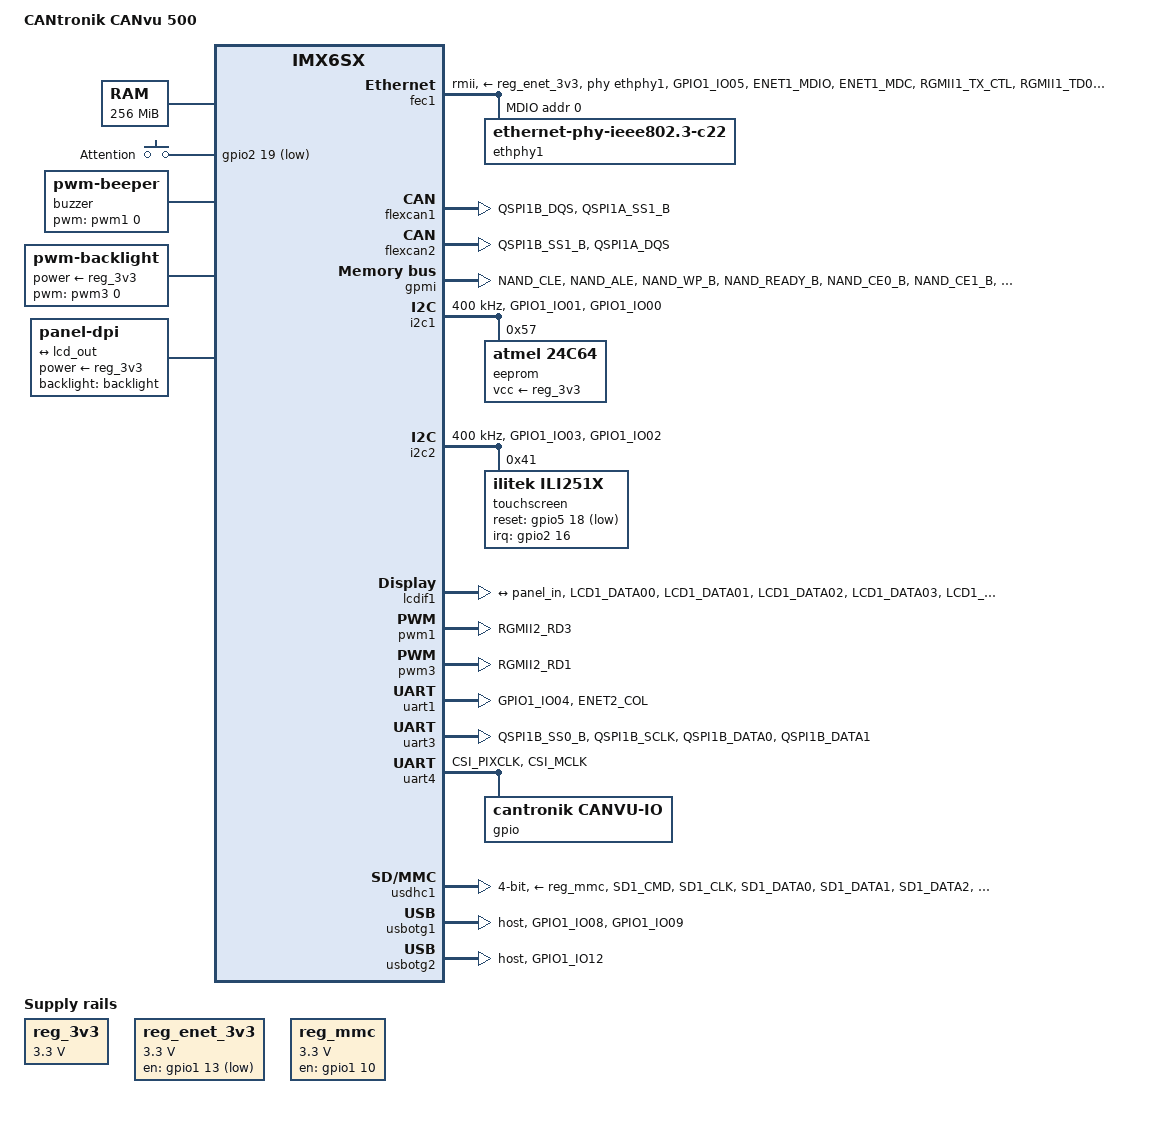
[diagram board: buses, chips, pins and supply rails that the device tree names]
/dts-v1/;

#include <dt-bindings/input/input.h>
#include "imx6sx.dtsi"

/ {
	model = "CANtronik CANvu 500";
	compatible = "cantronik,canvu500", "fsl,imx6sx";

	chosen {
		stdout-path = &uart1;
	};

	memory@80000000 {
		device_type = "memory";
		reg = <0x80000000 0x10000000>;
	};

	gpio-keys {
		compatible = "gpio-keys";
		pinctrl-names = "default";
		pinctrl-0 = <&pinctrl_gpio_keys>;

		key-1 {
			label = "Attention";
			gpios = <&gpio2 19 GPIO_ACTIVE_LOW>;
			linux,code = <KEY_HOME>;
		};
	};

	buzzer {
		compatible = "pwm-beeper";
		pwms = <&pwm1 0 1000000 0>;
	};

	backlight: backlight {
		compatible = "pwm-backlight";
		power-supply = <&reg_3v3>;
		pwms = <&pwm3 0 20000 0>;
		brightness-levels = <0 4 8 16 32 64 128 255>;
		default-brightness-level = <7>;
	};

	panel {
		compatible = "panel-dpi";
		power-supply = <&reg_3v3>;
		backlight = <&backlight>;

		panel-timing {
			clock-frequency = <27000000>;
			hactive = <800>;
			vactive = <480>;
			hback-porch = <40>;
			hfront-porch = <60>;
			vback-porch = <10>;
			vfront-porch = <10>;
			hsync-len = <20>;
			vsync-len = <10>;
			hsync-active = <0>;
			vsync-active = <0>;
			de-active = <1>;
			pixelclk-active = <0>;
		};

		port {
			panel_in: endpoint {
				remote-endpoint = <&lcd_out>;
			};
		};
	};

	reg_3v3: regulator-3v3 {
		compatible = "regulator-fixed";
		regulator-name = "vref-3v3";
		regulator-min-microvolt = <3300000>;
		regulator-max-microvolt = <3300000>;
	};

	reg_enet_3v3: regulator-enet {
		compatible = "regulator-fixed";
		pinctrl-names = "default";
		pinctrl-0 = <&pinctrl_enet_3v3>;
		regulator-name = "enet_3v3";
		regulator-min-microvolt = <3300000>;
		regulator-max-microvolt = <3300000>;
		gpio = <&gpio1 13 GPIO_ACTIVE_LOW>;
	};

	reg_mmc: regulator-mmc {
		compatible = "regulator-fixed";
		pinctrl-names = "default";
		pinctrl-0 = <&pinctrl_reg_mmc>;
		regulator-name = "mmc_3v3";
		regulator-min-microvolt = <3300000>;
		regulator-max-microvolt = <3300000>;
		gpio = <&gpio1 10 GPIO_ACTIVE_HIGH>;
		enable-active-high;
	};
};

&fec1 {
	pinctrl-names = "default";
	pinctrl-0 = <&pinctrl_enet1>;
	assigned-clocks = <&clks IMX6SX_CLK_ENET_REF>;
	assigned-clock-rates = <50000000>;
	phy-supply = <&reg_enet_3v3>;
	phy-mode = "rmii";
	phy-reset-gpios = <&gpio2 17 GPIO_ACTIVE_LOW>;
	phy-reset-duration = <25>;
	phy-handle = <&ethphy1>;
	status = "okay";

	mdio {
		#address-cells = <1>;
		#size-cells = <0>;

		ethphy1: ethernet-phy@0 {
			compatible = "ethernet-phy-ieee802.3-c22";
			reg = <0>;
			max-speed = <100>;
		};
	};
};

&flexcan1 {
	pinctrl-names = "default";
	pinctrl-0 = <&pinctrl_flexcan1>;
	status = "okay";
};

&flexcan2 {
	pinctrl-names = "default";
	pinctrl-0 = <&pinctrl_flexcan2>;
	status = "okay";
};

&gpmi {
	pinctrl-names = "default";
	pinctrl-0 = <&pinctrl_gpmi_nand>;
	status = "okay";

	partitions {
		compatible = "fixed-partitions";
		#address-cells = <1>;
		#size-cells = <1>;

		partition@0 {
			label = "boot";
			reg = <0x000000 0x380000>;
		};

		partition@380000 {
			label = "splash";
			reg = <0x380000 0x080000>;
		};

		partition@400000 {
			label = "env";
			reg = <0x400000 0x100000>;
		};

		partition@500000 {
			label = "ubi";
			reg = <0x500000 0x1fb00000>;
		};
	};
};

&i2c1 {
	pinctrl-names = "default";
	pinctrl-0 = <&pinctrl_i2c1>;
	clock-frequency = <400000>;
	status = "okay";

	eeprom@57 {
		compatible = "atmel,24c64";
		reg = <0x57>;
		pagesize = <32>;
		vcc-supply = <&reg_3v3>;
	};
};

&i2c2 {
	pinctrl-names = "default";
	pinctrl-0 = <&pinctrl_i2c2>;
	clock-frequency = <400000>;
	status = "okay";

	touchscreen@41 {
		compatible = "ilitek,ili251x";
		reg = <0x41>;
		pinctrl-names = "default";
		pinctrl-0 = <&pinctrl_touchscreen>;
		interrupt-parent = <&gpio2>;
		interrupts = <16 IRQ_TYPE_EDGE_FALLING>;
		reset-gpio = <&gpio5 18 GPIO_ACTIVE_LOW>;
	};
};

&lcdif1 {
	pinctrl-names = "default";
	pinctrl-0 = <&pinctrl_lcd>;
	status = "okay";

	port {
		lcd_out: endpoint {
			remote-endpoint = <&panel_in>;
		};
	};
};

&pwm1 {
	pinctrl-names = "default";
	pinctrl-0 = <&pinctrl_pwm1>;
	status = "okay";
};

&pwm3 {
	pinctrl-names = "default";
	pinctrl-0 = <&pinctrl_pwm3>;
	status = "okay";
};

&uart1 {
	pinctrl-names = "default";
	pinctrl-0 = <&pinctrl_uart1>;
	status = "okay";
};

&uart3 {
	pinctrl-names = "default";
	pinctrl-0 = <&pinctrl_uart3>;
	fsl,uart-has-rtscts;
	status = "okay";
};

&uart4 {
	pinctrl-names = "default";
	pinctrl-0 = <&pinctrl_uart4>;
	status = "okay";

	gpio {
		compatible = "cantronik,canvu-io";
		current-speed = <115200>;
		nr-dig-in = <1>;
		nr-dig-out = <1>;
		gpio-controller;
		#gpio-cells = <2>;
		gpio-line-names = "relay_1", "digital_input_1";
	};
};

&usdhc1 {
	pinctrl-names = "default";
	pinctrl-0 = <&pinctrl_usdhc1>;
	vmmc-supply = <&reg_mmc>;
	bus-width = <4>;
	no-1-8-v;
	status = "okay";
};

&usbotg1 {
	pinctrl-names = "default";
	pinctrl-0 = <&pinctrl_usb_otg1>;
	power-active-high;
	over-current-active-low;
	dr_mode = "host";
	status = "okay";
};

&usbotg2 {
	pinctrl-names = "default";
	pinctrl-0 = <&pinctrl_usb_otg2>;
	power-active-high;
	disable-over-current;
	dr_mode = "host";
	status = "okay";
};

&iomuxc {
	pinctrl_enet1: enet1 {
		fsl,pins = <
			MX6SX_PAD_GPIO1_IO05__ENET1_REF_CLK1	0x4000a0e9
			MX6SX_PAD_ENET1_MDIO__ENET1_MDIO	0xa0e9
			MX6SX_PAD_ENET1_MDC__ENET1_MDC		0xa0e9
			MX6SX_PAD_RGMII1_TX_CTL__ENET1_TX_EN	0xa0e9
			MX6SX_PAD_RGMII1_TD0__ENET1_TX_DATA_0	0xa0e9
			MX6SX_PAD_RGMII1_TD1__ENET1_TX_DATA_1	0xa0e9
			MX6SX_PAD_RGMII1_RX_CTL__ENET1_RX_EN	0x30c1
			MX6SX_PAD_RGMII1_RD0__ENET1_RX_DATA_0	0x30c1
			MX6SX_PAD_RGMII1_RD1__ENET1_RX_DATA_1	0x30c1
			MX6SX_PAD_KEY_ROW2__GPIO2_IO_17		0x80000000
		>;
	};

	pinctrl_enet_3v3: enet3v3 {
		fsl,pins = <
			MX6SX_PAD_GPIO1_IO13__GPIO1_IO_13	0x80000000
		>;
	};

	pinctrl_flexcan1: flexcan1 {
		fsl,pins = <
			MX6SX_PAD_QSPI1B_DQS__CAN1_TX		0x1b020
			MX6SX_PAD_QSPI1A_SS1_B__CAN1_RX		0x1b020
		>;
	};

	pinctrl_flexcan2: flexcan2 {
		fsl,pins = <
			MX6SX_PAD_QSPI1B_SS1_B__CAN2_RX		0x1b020
			MX6SX_PAD_QSPI1A_DQS__CAN2_TX		0x1b020
		>;
	};

	pinctrl_gpmi_nand: gpminand {
		fsl,pins = <
			MX6SX_PAD_NAND_CLE__RAWNAND_CLE		0xb0b1
			MX6SX_PAD_NAND_ALE__RAWNAND_ALE		0xb0b1
			MX6SX_PAD_NAND_WP_B__RAWNAND_WP_B	0xb0b1
			MX6SX_PAD_NAND_READY_B__RAWNAND_READY_B	0xb000
			MX6SX_PAD_NAND_CE0_B__RAWNAND_CE0_B	0xb0b1
			MX6SX_PAD_NAND_CE1_B__RAWNAND_CE1_B	0xb0b1
			MX6SX_PAD_NAND_RE_B__RAWNAND_RE_B	0xb0b1
			MX6SX_PAD_NAND_WE_B__RAWNAND_WE_B	0xb0b1
			MX6SX_PAD_NAND_DATA00__RAWNAND_DATA00	0xb0b1
			MX6SX_PAD_NAND_DATA01__RAWNAND_DATA01	0xb0b1
			MX6SX_PAD_NAND_DATA02__RAWNAND_DATA02	0xb0b1
			MX6SX_PAD_NAND_DATA03__RAWNAND_DATA03	0xb0b1
			MX6SX_PAD_NAND_DATA04__RAWNAND_DATA04	0xb0b1
			MX6SX_PAD_NAND_DATA05__RAWNAND_DATA05	0xb0b1
			MX6SX_PAD_NAND_DATA06__RAWNAND_DATA06	0xb0b1
			MX6SX_PAD_NAND_DATA07__RAWNAND_DATA07	0xb0b1
		>;
	};

	pinctrl_gpio_keys: gpio_keys {
		fsl,pins = <
			MX6SX_PAD_KEY_ROW4__GPIO2_IO_19		0x170b0
		>;
	};

	pinctrl_i2c1: i2c1 {
		fsl,pins = <
			MX6SX_PAD_GPIO1_IO01__I2C1_SDA		0x4001b8b1
			MX6SX_PAD_GPIO1_IO00__I2C1_SCL		0x4001b8b1
		>;
	};

	pinctrl_i2c2: i2c2 {
		fsl,pins = <
			MX6SX_PAD_GPIO1_IO03__I2C2_SDA		0x4001b8b1
			MX6SX_PAD_GPIO1_IO02__I2C2_SCL		0x4001b8b1
		>;
	};

	pinctrl_touchscreen: touchscreen {
		fsl,pins = <
			MX6SX_PAD_KEY_ROW1__GPIO2_IO_16		0x80000000
			MX6SX_PAD_RGMII2_TD0__GPIO5_IO_18	0x80000000
		>;
	};

	pinctrl_lcd: lcd {
		fsl,pins = <
			MX6SX_PAD_LCD1_DATA00__LCDIF1_DATA_0	0x10b0
			MX6SX_PAD_LCD1_DATA01__LCDIF1_DATA_1	0x10b0
			MX6SX_PAD_LCD1_DATA02__LCDIF1_DATA_2	0x10b0
			MX6SX_PAD_LCD1_DATA03__LCDIF1_DATA_3	0x10b0
			MX6SX_PAD_LCD1_DATA04__LCDIF1_DATA_4	0x10b0
			MX6SX_PAD_LCD1_DATA05__LCDIF1_DATA_5	0x10b0
			MX6SX_PAD_LCD1_DATA06__LCDIF1_DATA_6	0x10b0
			MX6SX_PAD_LCD1_DATA07__LCDIF1_DATA_7	0x10b0
			MX6SX_PAD_LCD1_DATA08__LCDIF1_DATA_8	0x10b0
			MX6SX_PAD_LCD1_DATA09__LCDIF1_DATA_9	0x10b0
			MX6SX_PAD_LCD1_DATA10__LCDIF1_DATA_10	0x10b0
			MX6SX_PAD_LCD1_DATA11__LCDIF1_DATA_11	0x10b0
			MX6SX_PAD_LCD1_DATA12__LCDIF1_DATA_12	0x10b0
			MX6SX_PAD_LCD1_DATA13__LCDIF1_DATA_13	0x10b0
			MX6SX_PAD_LCD1_DATA14__LCDIF1_DATA_14	0x10b0
			MX6SX_PAD_LCD1_DATA15__LCDIF1_DATA_15	0x10b0
			MX6SX_PAD_LCD1_DATA16__LCDIF1_DATA_16	0x10b0
			MX6SX_PAD_LCD1_DATA17__LCDIF1_DATA_17	0x10b0
			MX6SX_PAD_LCD1_DATA18__LCDIF1_DATA_18	0x10b0
			MX6SX_PAD_LCD1_DATA19__LCDIF1_DATA_19	0x10b0
			MX6SX_PAD_LCD1_DATA20__LCDIF1_DATA_20	0x10b0
			MX6SX_PAD_LCD1_DATA21__LCDIF1_DATA_21	0x10b0
			MX6SX_PAD_LCD1_DATA22__LCDIF1_DATA_22	0x10b0
			MX6SX_PAD_LCD1_DATA23__LCDIF1_DATA_23	0x10b0
			MX6SX_PAD_LCD1_CLK__LCDIF1_CLK		0x10b0
			MX6SX_PAD_LCD1_ENABLE__LCDIF1_ENABLE	0x10b0
			MX6SX_PAD_LCD1_VSYNC__LCDIF1_VSYNC	0x10b0
			MX6SX_PAD_LCD1_HSYNC__LCDIF1_HSYNC	0x10b0
		>;
	};

	pinctrl_pwm1: pwm1 {
		fsl,pins = <
			MX6SX_PAD_RGMII2_RD3__PWM1_OUT		0x110b0
		>;
	};

	pinctrl_pwm3: pwm3 {
		fsl,pins = <
			MX6SX_PAD_RGMII2_RD1__PWM3_OUT		0x110b0
		>;
	};

	pinctrl_uart1: uart1 {
		fsl,pins = <
			MX6SX_PAD_GPIO1_IO04__UART1_TX		0x1b0b1
			MX6SX_PAD_ENET2_COL__UART1_RX		0x1b0b1
		>;
	};

	pinctrl_uart3: uart3 {
		fsl,pins = <
			MX6SX_PAD_QSPI1B_SS0_B__UART3_TX	0x1b0b1
			MX6SX_PAD_QSPI1B_SCLK__UART3_RX		0x1b0b1
			MX6SX_PAD_QSPI1B_DATA0__UART3_CTS_B	0x1b0b1
			MX6SX_PAD_QSPI1B_DATA1__UART3_RTS_B	0x1b0b1
		>;
	};

	pinctrl_uart4: uart4 {
		fsl,pins = <
			MX6SX_PAD_CSI_PIXCLK__UART4_TX		0x1b0b1
			MX6SX_PAD_CSI_MCLK__UART4_RX		0x1b0b1
		>;
	};

	pinctrl_usb_otg1: usbotg1 {
		fsl,pins = <
			MX6SX_PAD_GPIO1_IO08__USB_OTG1_OC	0x10b0
			MX6SX_PAD_GPIO1_IO09__USB_OTG1_PWR	0x10b0
		>;
	};

	pinctrl_usb_otg2: usbotg2 {
		fsl,pins = <
			MX6SX_PAD_GPIO1_IO12__USB_OTG2_PWR	0x10b0
		>;
	};

	pinctrl_usdhc1: usdhc1 {
		fsl,pins = <
			MX6SX_PAD_SD1_CMD__USDHC1_CMD		0x17059
			MX6SX_PAD_SD1_CLK__USDHC1_CLK		0x10059
			MX6SX_PAD_SD1_DATA0__USDHC1_DATA0	0x17059
			MX6SX_PAD_SD1_DATA1__USDHC1_DATA1	0x17059
			MX6SX_PAD_SD1_DATA2__USDHC1_DATA2	0x17059
			MX6SX_PAD_SD1_DATA3__USDHC1_DATA3	0x17059
		>;
	};

	pinctrl_reg_mmc: reg_mmc {
		fsl,pins = <
			MX6SX_PAD_GPIO1_IO10__GPIO1_IO_10	0x80000000
		>;
	};
};
